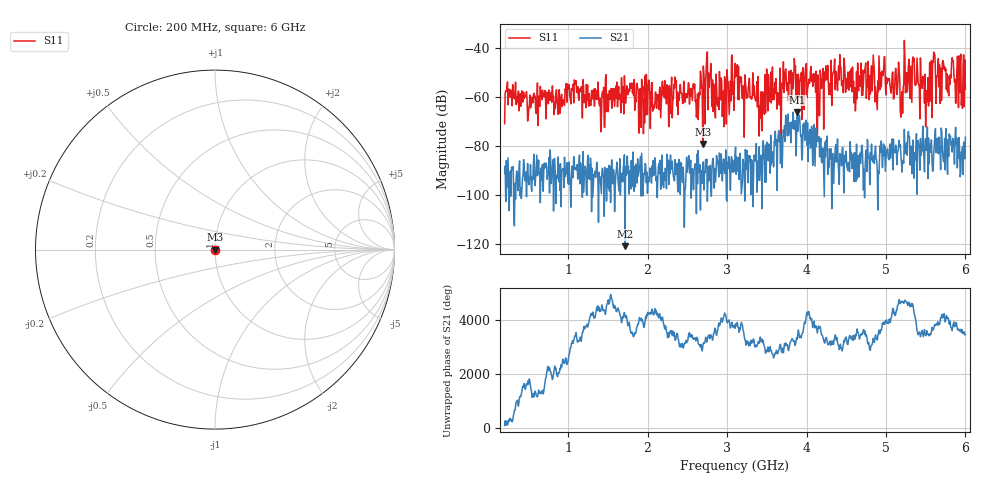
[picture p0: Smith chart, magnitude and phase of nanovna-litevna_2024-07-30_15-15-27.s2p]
! NanoVNA-App by OneOfEleven et al v1.1.209 (+OD15)
! Date: 2024-07-30 15:15:31
! Start: 200MHz Stop: 6GHz Points: 801
! S-Parameter data: F S11 S21 S12 S22
# Hz S RI R 50
!  Frequency  S11_Real  S11_Imag  S21_Real  S21_Imag  S12_Real  S12_Imag  S22_Real  S22_Imag
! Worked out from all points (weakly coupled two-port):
!   801 points, 200 MHz to 6 GHz, reference 50 ohm
!   highest |S21| = -66.26 dB at 3.883 GHz (marker M1); lowest = -121.0 dB at 1.715 GHz (marker M2)
!   lowest |S11| = -79.3 dB at 2.694 GHz (marker M3), VSWR 1.00, Z = 50 - j0.0108 ohm
!   |S11| at or under -10 dB: start of sweep to end of sweep
!   S12 and S22 are empty: the file has one direction only
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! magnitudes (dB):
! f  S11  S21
! 200 MHz  -71.0  -91.3
! 236.2 MHz  -53.9  -90.4
! 1.171 GHz  -56.1  -93.3
! 1.433 GHz  -57.9  -89.2
! 1.715 GHz  -57.7  -121.0
! 2.136 GHz  -59.3  -88.6
! 2.694 GHz  -79.3  -88.0
! 2.767 GHz  -50.2  -88.4
! 2.962 GHz  -72.2  -85.8
! 3.1 GHz  -46.4  -83.8
! 3.426 GHz  -58.0  -83.9
! 3.521 GHz  -51.0  -86.1
! 3.883 GHz  -56.3  -66.3
! 4.072 GHz  -50.9  -80.0
! 4.137 GHz  -78.2  -76.4
! 4.253 GHz  -49.7  -81.9
! 5.036 GHz  -53.3  -85.2
! 5.195 GHz  -62.2  -86.6
! 5.362 GHz  -54.4  -82.8
! 5.514 GHz  -61.6  -80.6
! 5.594 GHz  -46.0  -90.1
! 6 GHz  -56.9  -76.5
